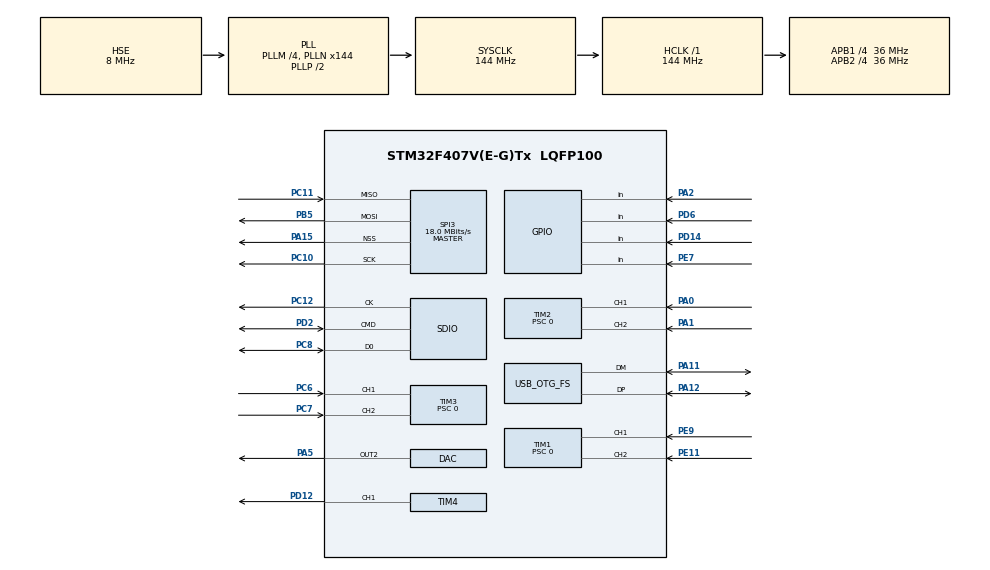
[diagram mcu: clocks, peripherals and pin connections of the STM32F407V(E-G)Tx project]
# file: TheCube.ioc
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ARM.CMSIS.4.5.0.CMSISJjCORE=true
ARM.CMSIS.4.5.0.CMSISJjDSP=true
DAC.DAC_Trigger2=DAC_TRIGGER_NONE
Dma.Request0=TIM4_CH1
Dma.TIM4_CH1.0.Direction=DMA_MEMORY_TO_PERIPH
Dma.TIM4_CH1.0.FIFOMode=DMA_FIFOMODE_DISABLE
Dma.TIM4_CH1.0.Instance=DMA1_Stream0
Dma.TIM4_CH1.0.MemDataAlignment=DMA_MDATAALIGN_HALFWORD
Dma.TIM4_CH1.0.MemInc=DMA_MINC_ENABLE
Dma.TIM4_CH1.0.Mode=DMA_NORMAL
Dma.TIM4_CH1.0.PeriphDataAlignment=DMA_PDATAALIGN_HALFWORD
Dma.TIM4_CH1.0.PeriphInc=DMA_PINC_DISABLE
Dma.TIM4_CH1.0.Priority=DMA_PRIORITY_LOW
FATFS.BSP.number=1
FATFS._FS_TIMEOUT=3000
FATFS._MAX_SS=4096
FATFS._USE_LFN=1
FATFS0.BSP.STBoard=false
FATFS0.BSP.api=Unknown
FATFS0.BSP.instance=PD6
FATFS0.BSP.ip=GPIO
FATFS0.BSP.mode=Input
FATFS0.BSP.name=Detect_SDIO
FATFS0.BSP.solution=PD6
Mcu.Family=STM32F4
Mcu.Name=STM32F407V(E-G)Tx
Mcu.Package=LQFP100
NVIC.DMA1_Stream0_IRQn=true\:0\:0\:false\:false\:true\:false\:true\:true
NVIC.OTG_FS_IRQn=true\:0\:0\:false\:false\:true\:false\:true\:true
NVIC.PriorityGroup=NVIC_PRIORITYGROUP_4
NVIC.TIM3_IRQn=true\:0\:0\:false\:false\:true\:true\:true\:true
NVIC.TIM4_IRQn=true\:0\:0\:false\:false\:true\:true\:true\:true
PA0-WKUP.Signal=S_TIM2_CH1_ETR
PA1.Signal=S_TIM2_CH2
PA11.Mode=Device_Only
PA11.Signal=USB_OTG_FS_DM
PA12.Mode=Device_Only
PA12.Signal=USB_OTG_FS_DP
PA15.Mode=NSS_Signal_Hard_Output
PA15.Signal=SPI3_NSS
PA2.Signal=GPIO_Input
PA5.Signal=COMP_DAC2_group
PB5.Mode=Full_Duplex_Master
PB5.Signal=SPI3_MOSI
PC10.Mode=Full_Duplex_Master
PC10.Signal=SPI3_SCK
PC11.Mode=Full_Duplex_Master
PC11.Signal=SPI3_MISO
PC12.Mode=SD_1_bit
PC12.Signal=SDIO_CK
PC6.Signal=S_TIM3_CH1
PC7.Signal=S_TIM3_CH2
PC8.Mode=SD_1_bit
PC8.Signal=SDIO_D0
PD12.Signal=S_TIM4_CH1
PD14.Signal=GPIO_Input
PD2.Mode=SD_1_bit
PD2.Signal=SDIO_CMD
PD6.Signal=GPIO_Input
PE11.Signal=S_TIM1_CH2
PE7.Signal=GPIO_Input
PE9.Signal=S_TIM1_CH1
PH0-OSC_IN.Mode=HSE-External-Oscillator
PH0-OSC_IN.Signal=RCC_OSC_IN
PH1-OSC_OUT.Mode=HSE-External-Oscillator
PH1-OSC_OUT.Signal=RCC_OSC_OUT
ProjectManager.HeapSize=0x200
ProjectManager.StackSize=0x400
ProjectManager.TargetToolchain=STM32CubeIDE
RCC.48MHZClocksFreq_Value=48000000
RCC.AHBFreq_Value=144000000
RCC.APB1CLKDivider=RCC_HCLK_DIV4
RCC.APB1Freq_Value=36000000
RCC.APB1TimFreq_Value=72000000
RCC.APB2CLKDivider=RCC_HCLK_DIV4
RCC.APB2Freq_Value=36000000
RCC.APB2TimFreq_Value=72000000
RCC.CortexFreq_Value=144000000
RCC.HCLKFreq_Value=144000000
RCC.HSE_VALUE=8000000
RCC.HSI_VALUE=16000000
RCC.LSE_VALUE=32768
RCC.PLLM=4
RCC.PLLN=144
RCC.PLLQ=6
RCC.SYSCLKFreq_VALUE=144000000
RCC.SYSCLKSource=RCC_SYSCLKSOURCE_PLLCLK
RCC.VCOOutputFreq_Value=288000000
SDIO.ClockDiv=32
SH.COMP_DAC2_group.0=DAC_OUT2,DAC_OUT2
SH.S_TIM1_CH1.0=TIM1_CH1,Encoder_Interface
SH.S_TIM1_CH2.0=TIM1_CH2,Encoder_Interface
SH.S_TIM2_CH1_ETR.0=TIM2_CH1,Encoder_Interface
SH.S_TIM2_CH2.0=TIM2_CH2,Encoder_Interface
SH.S_TIM3_CH1.0=TIM3_CH1,Encoder_Interface
SH.S_TIM3_CH2.0=TIM3_CH2,Encoder_Interface
SH.S_TIM4_CH1.0=TIM4_CH1,PWM Generation1 CH1
SPI3.BaudRatePrescaler=SPI_BAUDRATEPRESCALER_2
SPI3.CalculateBaudRate=18.0 MBits/s
SPI3.Direction=SPI_DIRECTION_2LINES
SPI3.Mode=SPI_MODE_MASTER
SPI3.VirtualNSS=VM_NSSHARD
SPI3.VirtualType=VM_MASTER
TIM1.AutoReloadPreload=TIM_AUTORELOAD_PRELOAD_ENABLE
TIM1.CounterMode=TIM_COUNTERMODE_UP
TIM1.EncoderMode=TIM_ENCODERMODE_TI12
TIM1.IC1Filter=15
TIM1.IC2Filter=15
TIM1.Period=65535
TIM1.Prescaler=0
TIM2.AutoReloadPreload=TIM_AUTORELOAD_PRELOAD_ENABLE
TIM2.EncoderMode=TIM_ENCODERMODE_TI12
TIM2.IC1Filter=15
TIM2.IC2Filter=15
TIM2.Period=360
TIM2.Prescaler=0
TIM3.AutoReloadPreload=TIM_AUTORELOAD_PRELOAD_ENABLE
TIM3.EncoderMode=TIM_ENCODERMODE_TI12
TIM3.IC1Filter=15
TIM3.IC2Filter=15
TIM3.Period=255
TIM3.Prescaler=0
TIM4.Channel-PWM\ Generation1\ CH1=TIM_CHANNEL_1
TIM4.Period=90
USB_DEVICE.CLASS_NAME_FS=CDC
USB_DEVICE.VirtualMode-CDC_FS=Cdc
USB_DEVICE.VirtualModeFS=Cdc_FS
USB_OTG_FS.VirtualMode=Device_Only
VP_ARM.CMSIS_VS_CMSISJjCORE_4.3.0_4.5.0.Mode=CMSISJjCORE
VP_ARM.CMSIS_VS_CMSISJjDSP_1.4.6_4.5.0.Mode=CMSISJjDSP
VP_FATFS_VS_SDIO.Mode=SDIO
VP_TIM4_VS_ClockSourceINT.Mode=Internal
VP_USB_DEVICE_VS_USB_DEVICE_CDC_FS.Mode=CDC_FS
board=custom

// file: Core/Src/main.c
/* USER CODE BEGIN Header */
/**
  ******************************************************************************
  * @file           : main.c
  * @brief          : Main program body
  ******************************************************************************
  * @attention
  *
  * Copyright (c) 2023 STMicroelectronics.
  * All rights reserved.
  *
  * This software is licensed under terms that can be found in the LICENSE file
  * in the root directory of this software component.
  * If no LICENSE file comes with this software, it is provided AS-IS.
  *
  ******************************************************************************
  */
/* USER CODE END Header */
#include "main.h"
#include "fatfs.h"
#include "usb_device.h"

/* USER CODE BEGIN Includes */
#include <stdbool.h>
#include "led_blaster.h"
#include "config.h"
/* USER CODE END Includes */

/* USER CODE BEGIN PTD */

enum {
    SLEEPING,
    WORKING,
} Status;

typedef struct {
    char programs[40][64];
    uint8_t current_program;
    uint8_t program_count;
} ProgramList;

typedef struct {
    uint32_t prog_len;
    uint32_t led_count;
}__attribute__((packed)) ProgramParameters;

/* USER CODE END PTD */

DAC_HandleTypeDef hdac;

SD_HandleTypeDef hsd;

SPI_HandleTypeDef hspi3;

TIM_HandleTypeDef htim1;
TIM_HandleTypeDef htim2;
TIM_HandleTypeDef htim3;
TIM_HandleTypeDef htim4;
DMA_HandleTypeDef hdma_tim4_ch1;

/* USER CODE BEGIN PV */
FATFS fs;
DIR dir;
FIL fil;
uint8_t incr = 0;
volatile uint8_t status = WORKING;
volatile uint8_t on_duration = 0;
volatile uint8_t off_duration = 0;
volatile bool button_pressed = false;
volatile bool button_press_cleared = false;
/* USER CODE END PV */

void SystemClock_Config(void);
static void MX_GPIO_Init(void);
static void MX_DMA_Init(void);
static void MX_SDIO_SD_Init(void);
static void MX_SPI3_Init(void);
static void MX_TIM1_Init(void);
static void MX_TIM4_Init(void);
static void MX_TIM2_Init(void);
static void MX_TIM3_Init(void);
static void MX_DAC_Init(void);
/* USER CODE BEGIN PFP */
uint8_t endswith(const char *str, const char *suffix);

uint8_t load_prog(Program *program, char *filename);
/* USER CODE END PFP */

int main(void)
{

  /* MCU Configuration--------------------------------------------------------*/

  /* Reset of all peripherals, Initializes the Flash interface and the Systick. */
  HAL_Init();

  /* Configure the system clock */
  SystemClock_Config();

  /* Initialize all configured peripherals */
  MX_GPIO_Init();
  MX_DMA_Init();
  MX_SDIO_SD_Init();
  MX_SPI3_Init();
  MX_FATFS_Init();
  MX_USB_DEVICE_Init();
  MX_TIM1_Init();
  MX_TIM4_Init();
  MX_TIM2_Init();
  MX_TIM3_Init();
  MX_DAC_Init();
  /* USER CODE BEGIN 2 */
    ProgramList prog_list = {0};

    HAL_TIM_Encoder_Start(&htim1, TIM_CHANNEL_ALL);
    HAL_TIM_Encoder_Start(&htim2, TIM_CHANNEL_ALL);
    HAL_TIM_Encoder_Start(&htim3, TIM_CHANNEL_ALL);

    uint8_t fresult = f_mount(&fs, "/", 1);
    if (fresult != FR_OK) {
        Error_Handler();
    }
    FILINFO file_info;

    fresult = f_opendir(&dir, "");
    if (fresult != FR_OK) {
        Error_Handler();
    }

    while (1) {
        fresult = f_readdir(&dir, &file_info);
        if (fresult != FR_OK || file_info.fname[0] == 0) {
            break;
        }

        if (!endswith(file_info.fname, SUFFIX)) {
            continue;
        }

        strcpy(prog_list.programs[prog_list.program_count], file_info.fname);
        prog_list.program_count++;
    }

    if (prog_list.program_count == 0) {
        Error_Handler();
    }
    f_closedir(&dir);

    prog_list.current_program = 0;
    char *current_prog = prog_list.programs[prog_list.current_program];
    fresult = f_open(&fil, current_prog, FA_OPEN_ALWAYS | FA_READ);
    if (fresult != FR_OK) {
        Error_Handler();
    }
    unsigned int size_read = 0;
    ProgramParameters prog_param = {0};
    f_read(&fil, &prog_param, sizeof(ProgramParameters), &size_read);
    if (size_read != sizeof(ProgramParameters)) {
        Error_Handler();
    }
    f_close(&fil);

    ColorProcessor *processor = init_processor(&htim2.Instance->CNT, &htim1.Instance->CNT);
    Program *program = init_program(
            &htim4, TIM_CHANNEL_1, hdma_tim4_ch1, prog_param.led_count,
            100, BITS_PER_LED, &fresult, processor);

    uint16_t frame = 0;
    load_prog(program, current_prog);

  /* USER CODE END 2 */

  /* Infinite loop */
  /* USER CODE BEGIN WHILE */

    HAL_DAC_Start(&hdac, DAC_CHANNEL_2);
    /* Infinite loop */
    /* USER CODE BEGIN WHILE */
    while (1) {
        if (status == SLEEPING) {
            memset(program->interpolation_buffer, 0, program->led_count * sizeof(LED));
            frame = 0;
            HAL_Delay(10);
            send_leds_to_dma(program->interpolation_buffer);
            while (status == SLEEPING) { HAL_Delay(10);}
        }

        if (htim1.Instance->CNT < BRIGHTNESS_THRESHOLD) {
            float32_t brightness =
                    ((float32_t) BRIGHTNESS_THRESHOLD - htim1.Instance->CNT) / BRIGHTNESS_THRESHOLD * MAX_DAC;
            HAL_DAC_SetValue(&hdac, DAC1_CHANNEL_2, DAC_ALIGN_12B_R, brightness);
        } else {
            HAL_DAC_SetValue(&hdac, DAC1_CHANNEL_2, DAC_ALIGN_12B_R, 0);
        }

        if ((htim3.Instance->CNT >> 2) % prog_list.program_count != prog_list.current_program) {
            prog_list.current_program = (htim3.Instance->CNT >> 2) % prog_list.program_count;
            fresult = load_prog(program, prog_list.programs[prog_list.current_program]);
            if (fresult != NO_ERROR) {
                Error_Handler();
            }
            frame = 0;
        }
        blast_one_frame(frame);
        frame = (frame + 1) % program->program_len;
    /* USER CODE END WHILE */

    }
}

void SystemClock_Config(void)
{
  RCC_OscInitTypeDef RCC_OscInitStruct = {0};
  RCC_ClkInitTypeDef RCC_ClkInitStruct = {0};

  /** Configure the main internal regulator output voltage
  */
  __HAL_RCC_PWR_CLK_ENABLE();
  __HAL_PWR_VOLTAGESCALING_CONFIG(PWR_REGULATOR_VOLTAGE_SCALE1);

  /** Initializes the RCC Oscillators according to the specified parameters
  * in the RCC_OscInitTypeDef structure.
  */
  RCC_OscInitStruct.OscillatorType = RCC_OSCILLATORTYPE_HSE;
  RCC_OscInitStruct.HSEState = RCC_HSE_ON;
  RCC_OscInitStruct.PLL.PLLState = RCC_PLL_ON;
  RCC_OscInitStruct.PLL.PLLSource = RCC_PLLSOURCE_HSE;
  RCC_OscInitStruct.PLL.PLLM = 4;
  RCC_OscInitStruct.PLL.PLLN = 144;
  RCC_OscInitStruct.PLL.PLLP = RCC_PLLP_DIV2;
  RCC_OscInitStruct.PLL.PLLQ = 6;
  if (HAL_RCC_OscConfig(&RCC_OscInitStruct) != HAL_OK)
  {
    Error_Handler();
  }

  /** Initializes the CPU, AHB and APB buses clocks
  */
  RCC_ClkInitStruct.ClockType = RCC_CLOCKTYPE_HCLK|RCC_CLOCKTYPE_SYSCLK
                              |RCC_CLOCKTYPE_PCLK1|RCC_CLOCKTYPE_PCLK2;
  RCC_ClkInitStruct.SYSCLKSource = RCC_SYSCLKSOURCE_PLLCLK;
  RCC_ClkInitStruct.AHBCLKDivider = RCC_SYSCLK_DIV1;
  RCC_ClkInitStruct.APB1CLKDivider = RCC_HCLK_DIV4;
  RCC_ClkInitStruct.APB2CLKDivider = RCC_HCLK_DIV4;

  if (HAL_RCC_ClockConfig(&RCC_ClkInitStruct, FLASH_LATENCY_4) != HAL_OK)
  {
    Error_Handler();
  }
}

static void MX_DAC_Init(void)
{

  DAC_ChannelConfTypeDef sConfig = {0};

  /** DAC Initialization
  */
  hdac.Instance = DAC;
  if (HAL_DAC_Init(&hdac) != HAL_OK)
  {
    Error_Handler();
  }

  /** DAC channel OUT2 config
  */
  sConfig.DAC_Trigger = DAC_TRIGGER_NONE;
  sConfig.DAC_OutputBuffer = DAC_OUTPUTBUFFER_ENABLE;
  if (HAL_DAC_ConfigChannel(&hdac, &sConfig, DAC_CHANNEL_2) != HAL_OK)
  {
    Error_Handler();
  }

}

static void MX_SDIO_SD_Init(void)
{

  hsd.Instance = SDIO;
  hsd.Init.ClockEdge = SDIO_CLOCK_EDGE_RISING;
  hsd.Init.ClockBypass = SDIO_CLOCK_BYPASS_DISABLE;
  hsd.Init.ClockPowerSave = SDIO_CLOCK_POWER_SAVE_DISABLE;
  hsd.Init.BusWide = SDIO_BUS_WIDE_1B;
  hsd.Init.HardwareFlowControl = SDIO_HARDWARE_FLOW_CONTROL_DISABLE;
  hsd.Init.ClockDiv = 32;

}

static void MX_SPI3_Init(void)
{

  /* SPI3 parameter configuration*/
  hspi3.Instance = SPI3;
  hspi3.Init.Mode = SPI_MODE_MASTER;
  hspi3.Init.Direction = SPI_DIRECTION_2LINES;
  hspi3.Init.DataSize = SPI_DATASIZE_8BIT;
  hspi3.Init.CLKPolarity = SPI_POLARITY_LOW;
  hspi3.Init.CLKPhase = SPI_PHASE_1EDGE;
  hspi3.Init.NSS = SPI_NSS_HARD_OUTPUT;
  hspi3.Init.BaudRatePrescaler = SPI_BAUDRATEPRESCALER_2;
  hspi3.Init.FirstBit = SPI_FIRSTBIT_MSB;
  hspi3.Init.TIMode = SPI_TIMODE_DISABLE;
  hspi3.Init.CRCCalculation = SPI_CRCCALCULATION_DISABLE;
  hspi3.Init.CRCPolynomial = 10;
  if (HAL_SPI_Init(&hspi3) != HAL_OK)
  {
    Error_Handler();
  }

}

static void MX_TIM1_Init(void)
{

  TIM_Encoder_InitTypeDef sConfig = {0};
  TIM_MasterConfigTypeDef sMasterConfig = {0};

  htim1.Instance = TIM1;
  htim1.Init.Prescaler = 0;
  htim1.Init.CounterMode = TIM_COUNTERMODE_UP;
  htim1.Init.Period = 65535;
  htim1.Init.ClockDivision = TIM_CLOCKDIVISION_DIV1;
  htim1.Init.RepetitionCounter = 0;
  htim1.Init.AutoReloadPreload = TIM_AUTORELOAD_PRELOAD_ENABLE;
  sConfig.EncoderMode = TIM_ENCODERMODE_TI12;
  sConfig.IC1Polarity = TIM_ICPOLARITY_RISING;
  sConfig.IC1Selection = TIM_ICSELECTION_DIRECTTI;
  sConfig.IC1Prescaler = TIM_ICPSC_DIV1;
  sConfig.IC1Filter = 15;
  sConfig.IC2Polarity = TIM_ICPOLARITY_RISING;
  sConfig.IC2Selection = TIM_ICSELECTION_DIRECTTI;
  sConfig.IC2Prescaler = TIM_ICPSC_DIV1;
  sConfig.IC2Filter = 15;
  if (HAL_TIM_Encoder_Init(&htim1, &sConfig) != HAL_OK)
  {
    Error_Handler();
  }
  sMasterConfig.MasterOutputTrigger = TIM_TRGO_RESET;
  sMasterConfig.MasterSlaveMode = TIM_MASTERSLAVEMODE_DISABLE;
  if (HAL_TIMEx_MasterConfigSynchronization(&htim1, &sMasterConfig) != HAL_OK)
  {
    Error_Handler();
  }

}

static void MX_TIM2_Init(void)
{

  TIM_Encoder_InitTypeDef sConfig = {0};
  TIM_MasterConfigTypeDef sMasterConfig = {0};

  htim2.Instance = TIM2;
  htim2.Init.Prescaler = 0;
  htim2.Init.CounterMode = TIM_COUNTERMODE_UP;
  htim2.Init.Period = 360;
  htim2.Init.ClockDivision = TIM_CLOCKDIVISION_DIV1;
  htim2.Init.AutoReloadPreload = TIM_AUTORELOAD_PRELOAD_ENABLE;
  sConfig.EncoderMode = TIM_ENCODERMODE_TI12;
  sConfig.IC1Polarity = TIM_ICPOLARITY_RISING;
  sConfig.IC1Selection = TIM_ICSELECTION_DIRECTTI;
  sConfig.IC1Prescaler = TIM_ICPSC_DIV1;
  sConfig.IC1Filter = 15;
  sConfig.IC2Polarity = TIM_ICPOLARITY_RISING;
  sConfig.IC2Selection = TIM_ICSELECTION_DIRECTTI;
  sConfig.IC2Prescaler = TIM_ICPSC_DIV1;
  sConfig.IC2Filter = 15;
  if (HAL_TIM_Encoder_Init(&htim2, &sConfig) != HAL_OK)
  {
    Error_Handler();
  }
  sMasterConfig.MasterOutputTrigger = TIM_TRGO_RESET;
  sMasterConfig.MasterSlaveMode = TIM_MASTERSLAVEMODE_DISABLE;
  if (HAL_TIMEx_MasterConfigSynchronization(&htim2, &sMasterConfig) != HAL_OK)
  {
    Error_Handler();
  }

}

static void MX_TIM3_Init(void)
{

  TIM_Encoder_InitTypeDef sConfig = {0};
  TIM_MasterConfigTypeDef sMasterConfig = {0};

  htim3.Instance = TIM3;
  htim3.Init.Prescaler = 0;
  htim3.Init.CounterMode = TIM_COUNTERMODE_UP;
  htim3.Init.Period = 255;
  htim3.Init.ClockDivision = TIM_CLOCKDIVISION_DIV1;
  htim3.Init.AutoReloadPreload = TIM_AUTORELOAD_PRELOAD_ENABLE;
  sConfig.EncoderMode = TIM_ENCODERMODE_TI12;
  sConfig.IC1Polarity = TIM_ICPOLARITY_RISING;
  sConfig.IC1Selection = TIM_ICSELECTION_DIRECTTI;
  sConfig.IC1Prescaler = TIM_ICPSC_DIV1;
  sConfig.IC1Filter = 15;
  sConfig.IC2Polarity = TIM_ICPOLARITY_RISING;
  sConfig.IC2Selection = TIM_ICSELECTION_DIRECTTI;
  sConfig.IC2Prescaler = TIM_ICPSC_DIV1;
  sConfig.IC2Filter = 15;
  if (HAL_TIM_Encoder_Init(&htim3, &sConfig) != HAL_OK)
  {
    Error_Handler();
  }
  sMasterConfig.MasterOutputTrigger = TIM_TRGO_RESET;
  sMasterConfig.MasterSlaveMode = TIM_MASTERSLAVEMODE_DISABLE;
  if (HAL_TIMEx_MasterConfigSynchronization(&htim3, &sMasterConfig) != HAL_OK)
  {
    Error_Handler();
  }

}

static void MX_TIM4_Init(void)
{

  TIM_ClockConfigTypeDef sClockSourceConfig = {0};
  TIM_MasterConfigTypeDef sMasterConfig = {0};
  TIM_OC_InitTypeDef sConfigOC = {0};

  htim4.Instance = TIM4;
  htim4.Init.Prescaler = 0;
  htim4.Init.CounterMode = TIM_COUNTERMODE_UP;
  htim4.Init.Period = 90;
  htim4.Init.ClockDivision = TIM_CLOCKDIVISION_DIV1;
  htim4.Init.AutoReloadPreload = TIM_AUTORELOAD_PRELOAD_DISABLE;
  if (HAL_TIM_Base_Init(&htim4) != HAL_OK)
  {
    Error_Handler();
  }
  sClockSourceConfig.ClockSource = TIM_CLOCKSOURCE_INTERNAL;
  if (HAL_TIM_ConfigClockSource(&htim4, &sClockSourceConfig) != HAL_OK)
  {
    Error_Handler();
  }
  if (HAL_TIM_PWM_Init(&htim4) != HAL_OK)
  {
    Error_Handler();
  }
  sMasterConfig.MasterOutputTrigger = TIM_TRGO_RESET;
  sMasterConfig.MasterSlaveMode = TIM_MASTERSLAVEMODE_DISABLE;
  if (HAL_TIMEx_MasterConfigSynchronization(&htim4, &sMasterConfig) != HAL_OK)
  {
    Error_Handler();
  }
  sConfigOC.OCMode = TIM_OCMODE_PWM1;
  sConfigOC.Pulse = 0;
  sConfigOC.OCPolarity = TIM_OCPOLARITY_HIGH;
  sConfigOC.OCFastMode = TIM_OCFAST_DISABLE;
  if (HAL_TIM_PWM_ConfigChannel(&htim4, &sConfigOC, TIM_CHANNEL_1) != HAL_OK)
  {
    Error_Handler();
  }
  HAL_TIM_MspPostInit(&htim4);

}

static void MX_DMA_Init(void)
{

  /* DMA controller clock enable */
  __HAL_RCC_DMA1_CLK_ENABLE();

  /* DMA interrupt init */
  /* DMA1_Stream0_IRQn interrupt configuration */
  HAL_NVIC_SetPriority(DMA1_Stream0_IRQn, 0, 0);
  HAL_NVIC_EnableIRQ(DMA1_Stream0_IRQn);

}

static void MX_GPIO_Init(void)
{
  GPIO_InitTypeDef GPIO_InitStruct = {0};

  /* GPIO Ports Clock Enable */
  __HAL_RCC_GPIOH_CLK_ENABLE();
  __HAL_RCC_GPIOA_CLK_ENABLE();
  __HAL_RCC_GPIOE_CLK_ENABLE();
  __HAL_RCC_GPIOD_CLK_ENABLE();
  __HAL_RCC_GPIOC_CLK_ENABLE();
  __HAL_RCC_GPIOB_CLK_ENABLE();

  /*Configure GPIO pin : PA2 */
  GPIO_InitStruct.Pin = GPIO_PIN_2;
  GPIO_InitStruct.Mode = GPIO_MODE_INPUT;
  GPIO_InitStruct.Pull = GPIO_NOPULL;
  HAL_GPIO_Init(GPIOA, &GPIO_InitStruct);

  /*Configure GPIO pin : PE7 */
  GPIO_InitStruct.Pin = GPIO_PIN_7;
  GPIO_InitStruct.Mode = GPIO_MODE_INPUT;
  GPIO_InitStruct.Pull = GPIO_NOPULL;
  HAL_GPIO_Init(GPIOE, &GPIO_InitStruct);

  /*Configure GPIO pins : PD14 PD6 */
  GPIO_InitStruct.Pin = GPIO_PIN_14|GPIO_PIN_6;
  GPIO_InitStruct.Mode = GPIO_MODE_INPUT;
  GPIO_InitStruct.Pull = GPIO_NOPULL;
  HAL_GPIO_Init(GPIOD, &GPIO_InitStruct);

}

/* USER CODE BEGIN 4 */

void HAL_SYSTICK_Callback() {
    uint8_t pin = HAL_GPIO_ReadPin(GPIOD, GPIO_PIN_14);

    if (pin == GPIO_PIN_RESET) {
        on_duration = 0;
        off_duration++;

        if (off_duration > DEBOUNCE_MS && !button_pressed) {
            off_duration = DEBOUNCE_MS + 1;
            button_pressed = true;
            button_press_cleared = false;
        }
    } else {
        off_duration = 0;
        on_duration++;

        if (on_duration > DEBOUNCE_MS) {
            on_duration = DEBOUNCE_MS + 1;
            button_pressed = false;
        }
    }

    if (!button_pressed || button_press_cleared) {
        return;
    }

    if (status == WORKING) {
        status = SLEEPING;
    } else if (Status == SLEEPING){
        status = WORKING;
    }
    button_press_cleared = true;
}

uint8_t endswith(const char *str, const char *suffix) {
    if (!str || !suffix)
        return 0;
    size_t str_len = strlen(str);
    size_t suffix_len = strlen(suffix);
    if (suffix_len > str_len)
        return 0;
    return strncmp(str + str_len - suffix_len, suffix, suffix_len) == 0;
}

uint8_t load_prog(Program *program, char *filename) {
    uint8_t fresult;
    fresult = f_open(&fil, filename, FA_OPEN_ALWAYS | FA_READ);

    if (fresult != FR_OK) {
        return SD_READ_ERROR;
    }

    unsigned int size_read = 0;
    ProgramParameters prog_param = {0};
    f_read(&fil, &prog_param, sizeof(ProgramParameters), &size_read);

    for (uint32_t i = 0; i < prog_param.prog_len; i++) {
        f_read(&fil, program->frames[i].leds, program->led_count * sizeof(LED), &size_read);
        if (size_read != program->led_count * sizeof(LED)) {
            f_close(&fil);
            return SD_READ_ERROR;
        }
        f_read(&fil, &program->frames[i].is_interpolated, 2 * sizeof(uint8_t) + sizeof(uint16_t), &size_read);
        if (size_read != 2 * sizeof(uint8_t) + sizeof(uint16_t)) {
            f_close(&fil);
            return SD_READ_ERROR;
        }
        program->frames[i].interpolation_steps *= 3;
    }
    program->program_len = prog_param.prog_len;
    f_close(&fil);
    return NO_ERROR;
}
/* USER CODE END 4 */

void Error_Handler(void)
{
    __disable_irq();
    while (1) {
    }
}
